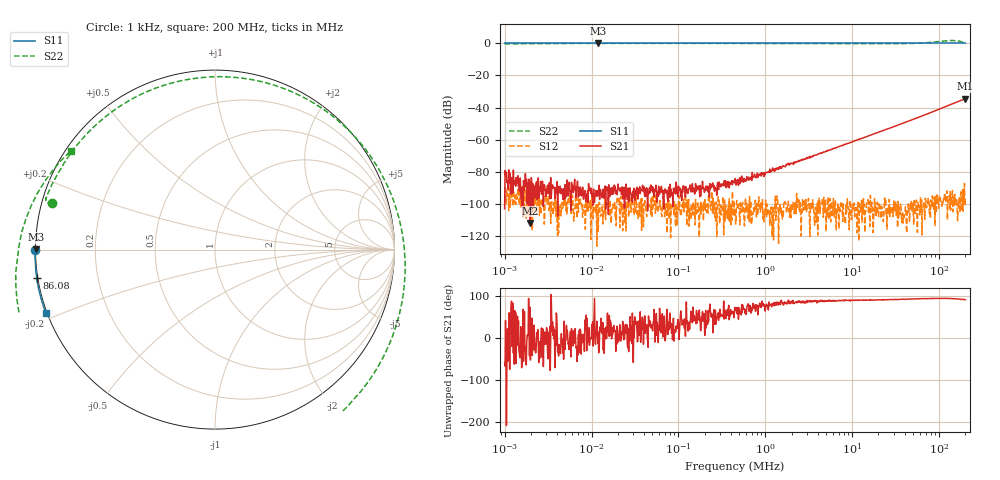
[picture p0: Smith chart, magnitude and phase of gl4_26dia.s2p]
! ListType=Log
# MHZ S RI R 50
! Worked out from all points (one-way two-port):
!   1000 points, 1 kHz to 200 MHz, reference 50 ohm
!   highest |S21| = -34.50 dB at 200 MHz (marker M1); lowest = -111.6 dB at 1.958 kHz (marker M2)
!   lowest |S11| = 0.0 dB at 11.95 kHz (marker M3)
!   |S11| at or under -10 dB: nowhere
!   |S22| runs from -0.5 to 1.7 dB; largest |S21 - S12| = 0.019
!   S11 on the Smith chart (normalised r, x): 1 kHz: -0.00, +0.00; 86.08 MHz: -0.00, -0.08; 200 MHz: -0.00, -0.18
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0.001  -1 0.000272  3.7e-06 -6.2e-06  -1.15e-05 -2.99e-05  -0.9089 0.26
0.0019582  -1 0.000376  8e-07 2.5e-06  1.8e-06 -5.1e-06  -0.9248 0.258
0.0076941  -1 3.99e-05  1.78e-05 2.4e-06  -2.1e-06 8.4e-06  -0.9422 0.2759
0.011945  -0.9983 0.000818  2.65e-05 6.3e-06  -1.2e-06 6e-07  -0.9435 0.2782
0.0584804  -0.9999 -0.000278  1.73e-05 -3.4e-06  1.1e-06 -7.5e-06  -0.9406 0.2882
0.4499541  -1 -0.00122  2.67e-05 5.72e-05  1.8e-06 7.1e-06  -0.9349 0.303
1.045455  -1 -0.00244  2.44e-05 9.2e-05  8e-07 -1.01e-05  -0.9261 0.3233
3.419952  -1.001 -0.00721  2.71e-05 0.00029  -1.8e-06 -7.2e-06  -0.8867 0.4028
12.03851  -1.002 -0.0238  1.94e-05 0.00103  -7.5e-06 -3e-07  -0.7122 0.6466
26.31347  -1.002 -0.0504  -9e-06 0.00226  3.6e-06 -3.5e-06  -0.3118 0.9064
38.90281  -1.001 -0.0736  -7.92e-05 0.00334  3.2e-06 4.1e-06  0.104 0.96
52.15945  -0.9999 -0.0977  -0.000139 0.00449  7e-07 -1.11e-05  0.5302 0.8281
67.41648  -0.9976 -0.1252  -0.000251 0.00585  2.4e-06 -9.8e-06  0.9034 0.4633
86.07812  -0.9936 -0.1585  -0.000402 0.00758  2.9e-06 -1.01e-05  1.057 -0.1695
96.08372  -0.9908 -0.1762  -0.000469 0.00853  -3.9e-06 -1.78e-05  0.9735 -0.5216
107.2524  -0.9878 -0.1956  -0.000576 0.00962  -1.6e-06 -8.5e-06  0.7458 -0.8653
121.191  -0.9825 -0.22  -0.000602 0.011  -9.6e-06 -1.37e-05  0.3112 -1.139
135.278  -0.9768 -0.2442  -0.000608 0.0124  -3.1e-06 -5.7e-06  -0.2103 -1.185
149.1688  -0.9704 -0.2676  -0.000566 0.0138  1.5e-06 -9.1e-06  -0.6843 -0.9897
166.5079  -0.9616 -0.2966  -0.000467 0.0155  -7e-06 -1.02e-05  -1.054 -0.491
179.1732  -0.9553 -0.3203  -0.000229 0.0169  -1.87e-05 -8.8e-06  -1.102 -0.0581
200  -0.9426 -0.3508  -4.05e-05 0.0188  -1.29e-05 -6.6e-06  -0.8026 0.5506
